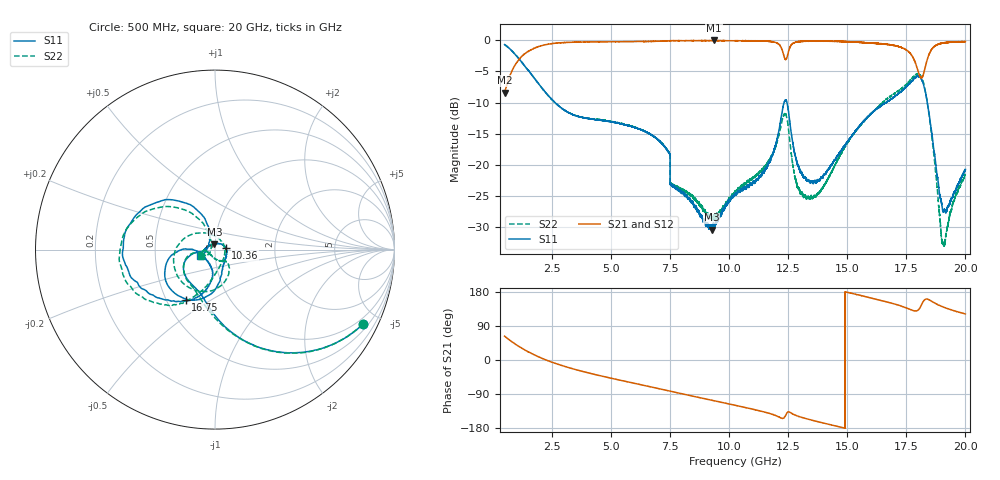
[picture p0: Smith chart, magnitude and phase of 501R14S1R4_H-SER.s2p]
!{501R14S1R4}
!Johanson Technology Inc.
!www.johansontechnology.com
!Test Board Conditions:
!Substrate Type  RO4350B
!Substrate Thickness  20 mil
!Substrate Dk  3.66
!TL Type: GCPW
!TL Trace Width  36 mil
!TL Gap  12 mil
!Electrode orientation  Horizontal
!DUT TOPOLOGY	SERIES
!Mounting Pad LxW  26x36 mil
! Created Wed Mar 11 15:54:56 2020
# mhz S ma R 50
! 2 Port Network Data from SP1.SP block
! freq  magS11  angS11  magS21  angS21  magS12  angS12  magS22  angS22
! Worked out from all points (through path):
!   19501 points, 500 MHz to 20 GHz, reference 50 ohm
!   highest |S21| = -0.04 dB at 9.362 GHz (marker M1); lowest = -8.4 dB at 500 MHz (marker M2)
!   group delay of S21, straight-line fit = 38.4 ps
!   lowest |S11| = -30.4 dB at 9.273 GHz (marker M3), VSWR 1.06, Z = 49.6 + j2.97 ohm
!   |S11| at or under -10 dB: 2.634 GHz to 12.33 GHz (9.693 GHz wide, 130 % of centre); 12.45 GHz to 16.63 GHz (4.182 GHz wide, 28.8 % of centre); 18.39 GHz to end of sweep (the widest 3 of 6)
!   |S22| runs from -33.0 to -0.7 dB; largest |S21 - S12| = 0.016
!   S11 on the Smith chart (normalised r, x): 500 MHz: 0.73, -4.08; 10.36 GHz: 1.13, +0.02; 16.75 GHz: 0.62, -0.39; 20 GHz: 0.84, -0.06
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500  0.9225 -26.7  0.3806 62.9  0.3818 63.0  0.9216 -26.7
1071  0.723 -52.6  0.6858 37.0  0.6846 37.0  0.7238 -52.8
1912  0.4539 -80.4  0.8859 9.1  0.8865 9.1  0.4534 -81.1
3750  0.2411 -116.4  0.9667 -29.3  0.9667 -29.4  0.2414 -122.2
7000  0.1587 -163.5  0.9816 -75.3  0.9823 -75.3  0.1588 -165.5
7403  0.1288 -169.3  0.9865 -80.8  0.9856 -80.8  0.1294 -170.2
7598  0.06724 -171.6  0.9913 -83.5  0.9924 -83.5  0.06888 -169.8
9273  0.03015 96.8  0.9932 -106.3  0.993 -106.3  0.03739 -135.5
9362  0.03322 86.2  0.9956 -107.5  0.9928 -107.5  0.03876 -128.5
10250  0.05826 16.9  0.9917 -119.4  0.9903 -119.4  0.06168 -77.3
10361  0.06071 9.4  0.9904 -120.9  0.9909 -120.9  0.06325 -72.3
11662  0.1022 -62.9  0.9797 -140.1  0.9806 -140.1  0.1073 -46.6
12380  0.3307 -132.3  0.7024 -147.6  0.7073 -147.7  0.2579 -138.6
12864  0.1057 -176.0  0.9663 -147.1  0.9692 -147.1  0.07031 82.5
13500  0.07325 -142.5  0.9837 -158.7  0.9831 -158.8  0.0548 3.7
16750  0.3253 -119.9  0.9236 152.0  0.9149 151.6  0.3474 -120.8
16751  0.3258 -119.9  0.9231 152.0  0.9152 151.5  0.347 -120.8
17696  0.4644 -152.7  0.7705 132.6  0.7661 132.4  0.4843 -147.1
18174  0.4702 153.5  0.5047 149.5  0.5008 150.3  0.4867 161.7
18553  0.1936 109.2  0.8342 155.8  0.832 156.0  0.1847 117.1
19067  0.04324 146.4  0.9513 139.6  0.9517 139.7  0.02343 169.7
20000  0.09189 -155.6  0.9725 121.4  0.9696 121.6  0.0831 -156.0
